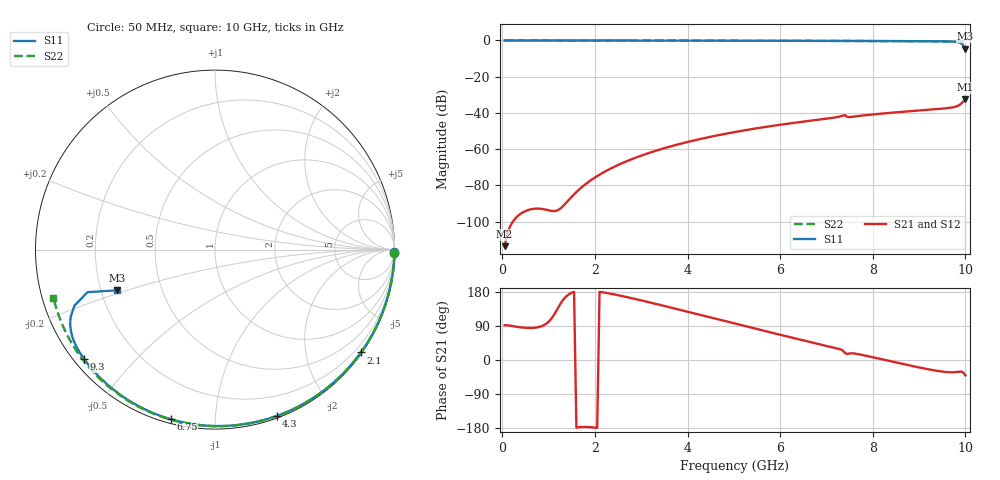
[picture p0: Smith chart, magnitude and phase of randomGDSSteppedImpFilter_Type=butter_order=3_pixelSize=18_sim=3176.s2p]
! freq	dB(S11)	phase(S11)	dB(S12)	phase(S12)
!  dB(S21)	phase(S21)	dB(S22)	phase(S22)
!S-par simulation data
#  GHz  S  DB  R 50
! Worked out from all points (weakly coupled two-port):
!   200 points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, 50 MHz to 10 GHz, reference 50 ohm
!   highest |S21| = -32.37 dB at 10 GHz (marker M1); lowest = -113.5 dB at 50 MHz (marker M2)
!   lowest |S11| = -4.5 dB at 10 GHz (marker M3), VSWR 3.91, Z = 13.2 - j9.28 ohm
!   |S11| at or under -10 dB: nowhere
!   |S22| runs from -0.5 to 0.0 dB; largest |S21 - S12| = 0
!   S11 on the Smith chart (normalised r, x): 50 MHz: open; 2.1 GHz: 0.03, -3.15; 4.3 GHz: 0.02, -1.44; 6.75 GHz: 0.02, -0.77; 9.3 GHz: 0.03, -0.36; 10 GHz: 0.26, -0.19
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0.05  -0.00 -0.9  -113.48 91.6  -113.48 91.6  -0.00 -0.9
0.85  -0.02 -14.4  -92.90 89.3  -92.90 89.3  -0.02 -16.0
1.75  -0.04 -29.4  -80.25 -176.6  -80.25 -176.6  -0.04 -32.6
2.1  -0.04 -35.2  -74.03 180.0  -74.03 180.0  -0.05 -39.0
2.7  -0.06 -44.9  -66.46 165.7  -66.46 165.7  -0.06 -49.7
3.4  -0.07 -55.9  -60.17 145.6  -60.17 145.6  -0.08 -61.8
4.3  -0.10 -69.7  -54.22 118.3  -54.22 118.3  -0.11 -76.9
5.05  -0.12 -80.7  -50.39 95.4  -50.39 95.4  -0.14 -89.0
5.85  -0.16 -92.2  -47.06 71.1  -47.06 71.1  -0.17 -101.5
6.7  -0.20 -104.0  -44.12 45.8  -44.12 45.8  -0.22 -114.4
6.75  -0.21 -104.6  -43.96 44.3  -43.96 44.3  -0.23 -115.2
7.2  -0.23 -110.8  -42.42 31.4  -42.42 31.4  -0.26 -122.0
7.4  -0.25 -113.5  -41.22 18.7  -41.22 18.7  -0.34 -124.9
7.45  -0.25 -114.2  -42.14 15.5  -42.14 15.5  -0.32 -125.3
7.5  -0.25 -114.8  -42.30 17.4  -42.30 17.4  -0.30 -126.1
8.35  -0.32 -126.3  -39.99 -2.4  -39.99 -2.4  -0.36 -138.8
9.3  -0.44 -140.2  -38.02 -26.8  -38.02 -26.8  -0.46 -152.8
9.65  -0.57 -147.3  -37.20 -32.3  -37.20 -32.3  -0.50 -158.1
9.85  -1.04 -155.0  -35.91 -31.1  -35.91 -31.1  -0.53 -161.1
9.9  -1.49 -158.3  -35.08 -30.7  -35.08 -30.7  -0.53 -161.8
9.95  -2.52 -161.5  -33.80 -32.5  -33.80 -32.5  -0.54 -162.6
10  -4.54 -157.5  -32.37 -40.7  -32.37 -40.7  -0.54 -163.4
